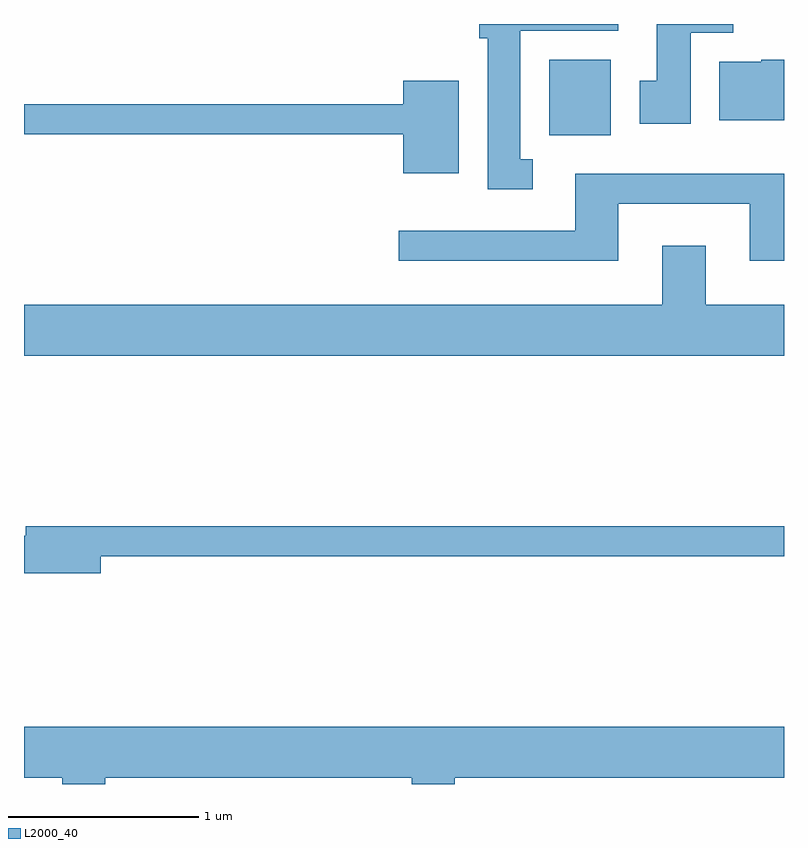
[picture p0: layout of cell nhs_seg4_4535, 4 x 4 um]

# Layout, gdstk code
import gdstk
lib = gdstk.Library(unit=1e-6, precision=1e-09)
def R(c, l, rs):  # rectangles x0, y0, x1, y1
    for r in rs: c.add(gdstk.rectangle(r[:2], r[2:], *l))
def P(c, l, *ps):  # polygons
    for p in ps: c.add(gdstk.Polygon(p, *l))
L2000_40 = (2000, 40)

nhs_seg4_4535 = lib.new_cell('nhs_seg4_4535')
R(nhs_seg4_4535, L2000_40, [(320.376,1351.396,320.699,1351.794)])
P(nhs_seg4_4535, L2000_40, [(320.288,1351.269),(320.224,1351.269),(320.224,1351.946),(320.739,1351.946),(320.739,1351.982),(320.006,1351.982),(320.006,1351.906),(320.051,1351.906),(320.051,1351.111),(320.288,1351.111)],
  [(321.119,1351.936),(321.344,1351.936),(321.344,1351.982),(320.941,1351.982),(320.941,1351.684),(320.851,1351.684),(320.851,1351.456),(321.119,1351.456)],
  [(321.611,1351.794),(321.49,1351.794),(321.49,1351.784),(321.271,1351.784),(321.271,1351.476),(321.611,1351.476)],
  [(319.899,1351.684),(319.606,1351.684),(319.606,1351.559),(317.611,1351.559),(317.611,1351.401),(319.606,1351.401),(319.606,1351.196),(319.899,1351.196)],
  [(320.739,1351.036),(321.431,1351.036),(321.431,1350.736),(321.611,1350.736),(321.611,1351.194),(320.511,1351.194),(320.511,1350.894),(319.583,1350.894),(319.583,1350.736),(320.739,1350.736)],
  [(321.611,1350.504),(321.199,1350.504),(321.199,1350.814),(320.971,1350.814),(320.971,1350.504),(317.611,1350.504),(317.611,1350.236),(321.611,1350.236)],
  [(318.014,1349.181),(321.611,1349.181),(321.611,1349.339),(317.621,1349.339),(317.621,1349.289),(317.611,1349.289),(317.611,1349.091),(318.014,1349.091)],
  [(318.039,1348.016),(319.651,1348.016),(319.651,1347.982),(319.879,1347.982),(319.879,1348.016),(321.611,1348.016),(321.611,1348.284),(317.611,1348.284),(317.611,1348.016),(317.811,1348.016),(317.811,1347.982),(318.039,1347.982)])

lib.write_gds('nhs_seg4_4535.gds')
